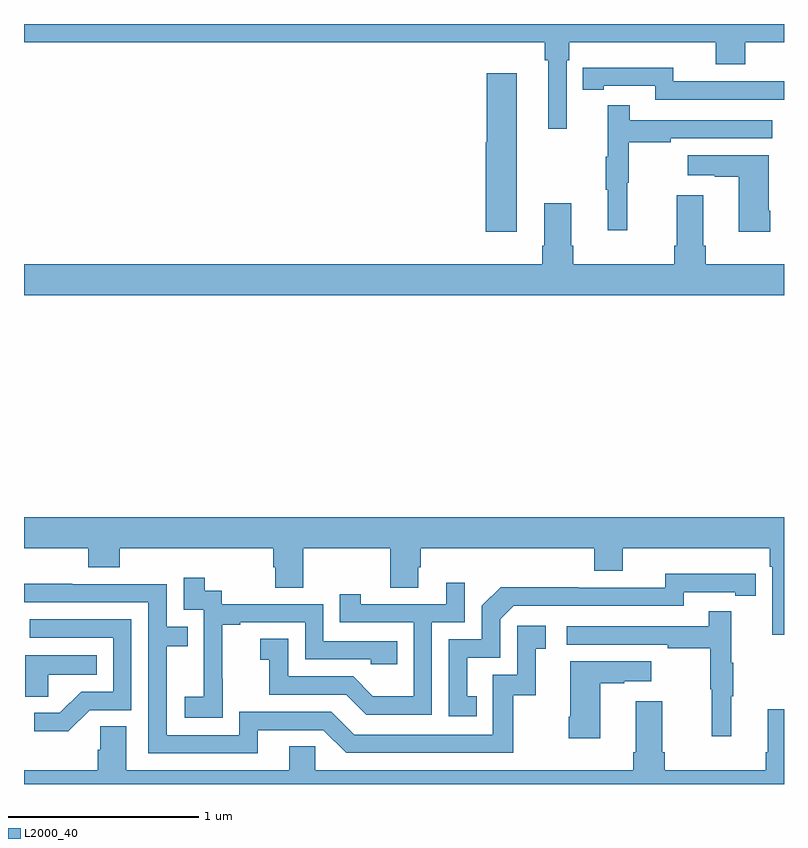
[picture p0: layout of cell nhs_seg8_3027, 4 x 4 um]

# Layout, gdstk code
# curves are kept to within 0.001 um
import gdstk
lib = gdstk.Library(unit=1e-6, precision=1e-09)
def P(c, l, *ps):  # polygons
    for p in ps: c.add(gdstk.Polygon(p, *l))
L2000_40 = (2000, 40)

nhs_seg8_3027 = lib.new_cell('nhs_seg8_3027')
P(nhs_seg8_3027, L2000_40, [(301.857,1145.708),(301.871,1145.708),(301.871,1145.804),(302.642,1145.804),(302.642,1145.687),(302.795,1145.687),(302.795,1145.804),(303,1145.804),(303,1145.9),(299,1145.9),(299,1145.804),(301.741,1145.804),(301.741,1145.708),(301.76,1145.708),(301.76,1145.349),(301.857,1145.349)],
  [(303,1145.6),(302.878,1145.6),(302.878,1145.598),(302.418,1145.598),(302.418,1145.671),(302.05,1145.671),(302.05,1145.67),(301.942,1145.67),(301.942,1145.554),(302.05,1145.554),(302.05,1145.574),(302.322,1145.574),(302.322,1145.502),(303,1145.502)],
  [(301.594,1145.641),(301.436,1145.641),(301.436,1145.277),(301.43,1145.277),(301.43,1144.806),(301.594,1144.806)],
  [(302.174,1145.064),(302.182,1145.064),(302.182,1145.278),(302.405,1145.278),(302.405,1145.298),(302.938,1145.298),(302.938,1145.394),(302.189,1145.394),(302.189,1145.473),(302.072,1145.473),(302.072,1145.201),(302.061,1145.201),(302.061,1145.027),(302.072,1145.027),(302.072,1144.815),(302.174,1144.815)],
  [(302.928,1144.918),(302.92,1144.918),(302.92,1145.209),(302.493,1145.209),(302.493,1145.105),(302.636,1145.105),(302.636,1145.095),(302.762,1145.095),(302.762,1144.806),(302.928,1144.806)],
  [(303,1144.636),(302.588,1144.636),(302.588,1144.732),(302.575,1144.732),(302.575,1144.999),(302.435,1144.999),(302.435,1144.732),(302.423,1144.732),(302.423,1144.636),(301.892,1144.636),(301.892,1144.732),(301.879,1144.732),(301.879,1144.957),(301.739,1144.957),(301.739,1144.732),(301.727,1144.732),(301.727,1144.636),(299,1144.636),(299,1144.472),(303,1144.472)],
  [(303,1143.304),(299,1143.304),(299,1143.14),(299.339,1143.14),(299.339,1143.041),(299.504,1143.041),(299.504,1143.14),(300.311,1143.14),(300.311,1143.042),(300.323,1143.042),(300.323,1142.932),(300.471,1142.932),(300.471,1143.14),(300.928,1143.14),(300.928,1142.932),(301.075,1142.932),(301.075,1143.042),(301.088,1143.042),(301.088,1143.14),(302,1143.14),(302,1143.023),(302.152,1143.023),(302.152,1143.14),(302.924,1143.14),(302.924,1143.044),(302.937,1143.044),(302.937,1142.685),(303,1142.685)],
  [(301.382,1142.361),(301.333,1142.361),(301.333,1142.565),(301.506,1142.565),(301.506,1142.766),(301.578,1142.838),(302.472,1142.838),(302.472,1142.91),(302.744,1142.91),(302.744,1142.89),(302.852,1142.89),(302.852,1143.006),(302.376,1143.007),(302.376,1142.934),(301.916,1142.934),(301.916,1142.936),(301.508,1142.936),(301.41,1142.838),(301.41,1142.661),(301.236,1142.661),(301.236,1142.256),(301.382,1142.256)],
  [(300.045,1142.455),(300.044,1142.455),(300.044,1142.739),(300.139,1142.739),(300.139,1142.751),(300.48,1142.751),(300.48,1142.556),(300.825,1142.556),(300.825,1142.529),(300.965,1142.529),(300.965,1142.652),(300.576,1142.652),(300.576,1142.847),(300.042,1142.847),(300.042,1142.916),(299.95,1142.916),(299.95,1142.986),(299.841,1142.986),(299.841,1142.817),(299.946,1142.817),(299.946,1142.588),(299.945,1142.588),(299.945,1142.359),(299.847,1142.359),(299.847,1142.249),(300.045,1142.249)],
  [(301.146,1142.751),(301.32,1142.751),(301.32,1142.959),(301.223,1142.959),(301.223,1142.847),(300.772,1142.847),(300.772,1142.899),(300.661,1142.899),(300.661,1142.751),(301.05,1142.751),(301.05,1142.362),(300.836,1142.362),(300.732,1142.466),(300.39,1142.466),(300.39,1142.665),(300.243,1142.665),(300.243,1142.555),(300.292,1142.555),(300.292,1142.37),(300.695,1142.37),(300.8,1142.265),(301.146,1142.265)],
  [(300.229,1142.184),(300.576,1142.184),(300.696,1142.064),(301.576,1142.064),(301.576,1142.367),(301.694,1142.367),(301.694,1142.613),(301.747,1142.613),(301.747,1142.734),(301.596,1142.734),(301.596,1142.475),(301.467,1142.475),(301.467,1142.16),(300.738,1142.16),(300.618,1142.28),(300.132,1142.28),(300.132,1142.157),(299.751,1142.157),(299.751,1142.626),(299.861,1142.626),(299.861,1142.727),(299.751,1142.727),(299.751,1142.952),(299.255,1142.952),(299.255,1142.954),(299,1142.954),(299,1142.856),(299.655,1142.856),(299.655,1142.061),(300.229,1142.061)],
  [(302.723,1142.363),(302.734,1142.363),(302.734,1142.537),(302.723,1142.537),(302.723,1142.809),(302.605,1142.809),(302.605,1142.73),(301.857,1142.73),(301.857,1142.634),(302.389,1142.634),(302.389,1142.614),(302.613,1142.614),(302.613,1142.4),(302.62,1142.4),(302.62,1142.151),(302.723,1142.151)],
  [(299.346,1142.289),(299.565,1142.289),(299.565,1142.766),(299.031,1142.766),(299.031,1142.67),(299.469,1142.67),(299.469,1142.385),(299.3,1142.385),(299.189,1142.274),(299.055,1142.274),(299.055,1142.177),(299.233,1142.177)],
  [(299.127,1142.474),(299.384,1142.474),(299.384,1142.578),(299.006,1142.578),(299.006,1142.359),(299.127,1142.359)],
  [(302.032,1142.431),(302.159,1142.431),(302.159,1142.441),(302.302,1142.441),(302.302,1142.545),(301.874,1142.545),(301.874,1142.254),(301.867,1142.254),(301.867,1142.142),(302.032,1142.142)],
  [(302.219,1142.335),(302.219,1142.068),(302.207,1142.068),(302.207,1141.972),(300.534,1141.972),(300.534,1142.099),(300.395,1142.099),(300.395,1141.972),(299.539,1141.972),(299.539,1142.204),(299.4,1142.204),(299.4,1142.081),(299.387,1142.081),(299.387,1141.972),(299,1141.972),(299,1141.9),(303,1141.9),(303,1142.293),(302.915,1142.293),(302.915,1142.068),(302.903,1142.068),(302.903,1141.972),(302.372,1141.972),(302.372,1142.068),(302.359,1142.068),(302.359,1142.335)])

lib.write_gds('nhs_seg8_3027.gds')
